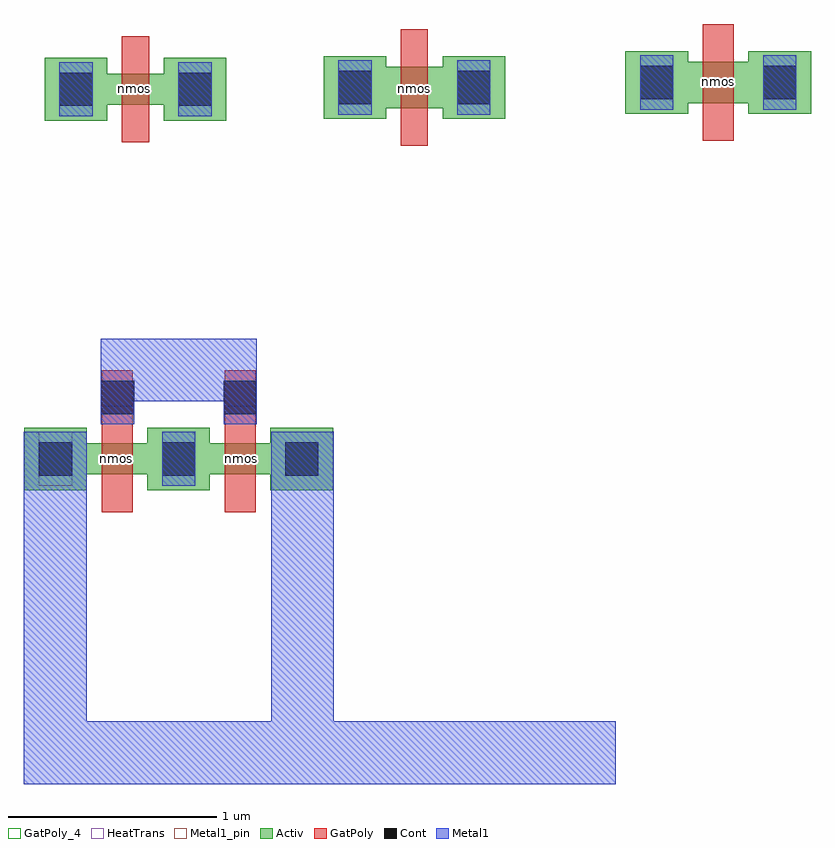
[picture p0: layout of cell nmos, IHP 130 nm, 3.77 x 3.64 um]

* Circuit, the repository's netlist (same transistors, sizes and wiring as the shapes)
*==========================================================================
* Copyright 2024 IHP PDK Authors
*
* Licensed under the Apache License, Version 2.0 (the "License");
* you may not use this file except in compliance with the License.
* You may obtain a copy of the License at
*
*    https://www.apache.org/licenses/LICENSE-2.0
*
* Unless required by applicable law or agreed to in writing, software
* distributed under the License is distributed on an "AS IS" BASIS,
* WITHOUT WARRANTIES OR CONDITIONS OF ANY KIND, either express or implied.
* See the License for the specific language governing permissions and
* limitations under the License.
* SPDX-License-Identifier: Apache-2.0
*==========================================================================

.SUBCKT nmos
MN1 D1 G1 S1 B sg13_lv_nmos m=1 w=150.00n l=130.00n ng=1
MN2 D2 G2 S2 B sg13_lv_nmos m=1 w=200.00n l=130.00n ng=1
MN3 D3 G3 S3 B sg13_lv_nmos m=1 w=200.00n l=150.00n ng=1
MN4 D4 G4 S4 B sg13_lv_nmos m=1 w=300.00n l=150.00n ng=2
.ENDS

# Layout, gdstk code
import gdstk
lib = gdstk.Library(unit=1e-6, precision=1e-09)
def R(c, l, rs):  # rectangles x0, y0, x1, y1
    for r in rs: c.add(gdstk.rectangle(r[:2], r[2:], *l))
def A(c, l, x, y, w, h, nx, ny, dx, dy):  # array of equal rectangles
    R(c, l, [(x+i*dx, y+j*dy, x+i*dx+w, y+j*dy+h) for i in range(nx) for j in range(ny)])
Activ = (1, 0)
GatPoly = (5, 0)
GatPoly_4 = (5, 4)
Cont = (6, 0)
Metal1 = (8, 0)
Metal1_pin = (8, 2)
HeatTrans = (51, 0)

nmos = lib.new_cell('nmos')
A(nmos, Activ, -0.51, -1.647, 0.3, 0.3, 3, 1, 0.59, 0)
R(nmos, Activ, [(-0.51,-1.572,0.97,-1.422), (-0.412,0.125,-0.112,0.425), (0.158,0.125,0.458,0.425), (0.925,0.134,1.225,0.434), (1.495,0.134,1.795,0.434), (2.372,0.158,2.672,0.458), (2.962,0.158,3.262,0.458), (0.925,0.184,1.795,0.384), (-0.412,0.2,0.458,0.35), (2.372,0.208,3.262,0.408)])
R(nmos, GatPoly, [(-0.14,-1.752,0.01,-1.072), (0.45,-1.752,0.6,-1.072), (1.295,0.004,1.425,0.564), (-0.042,0.02,0.088,0.53), (2.742,0.028,2.892,0.588)])
R(nmos, GatPoly_4, [(1.295,0.004,1.425,0.564), (1.295,0.004,1.425,0.564), (-0.042,0.02,0.088,0.53), (-0.042,0.02,0.088,0.53), (2.742,0.028,2.892,0.588), (2.742,0.028,2.892,0.588)])
A(nmos, Cont, -0.44, -1.577, 0.16, 0.16, 3, 1, 0.59, 0)
R(nmos, Cont, [(-0.143,-1.282,0.017,-1.122), (0.445,-1.282,0.605,-1.122), (-0.342,0.195,-0.182,0.355), (0.228,0.195,0.388,0.355), (0.995,0.204,1.155,0.364), (1.565,0.204,1.725,0.364), (2.442,0.228,2.602,0.388), (3.032,0.228,3.192,0.388)])
A(nmos, Metal1, -0.44, -1.627, 0.16, 0.26, 3, 1, 0.59, 0)
R(nmos, Metal1, [(-0.143,-1.332,0.017,-1.072), (0.445,-1.332,0.605,-1.072), (-0.342,0.145,-0.182,0.405), (0.228,0.145,0.388,0.405), (0.995,0.154,1.155,0.414), (1.565,0.154,1.725,0.414), (2.442,0.178,2.602,0.438), (3.032,0.178,3.192,0.438)])
R(nmos, Metal1_pin, [(-0.44,-1.627,-0.28,-1.367), (-0.44,-1.627,-0.28,-1.367), (0.15,-1.627,0.31,-1.367), (0.15,-1.627,0.31,-1.367), (-0.342,0.145,-0.182,0.405), (-0.342,0.145,-0.182,0.405), (0.228,0.145,0.388,0.405), (0.228,0.145,0.388,0.405), (0.995,0.154,1.155,0.414), (0.995,0.154,1.155,0.414), (1.565,0.154,1.725,0.414), (1.565,0.154,1.725,0.414), (2.442,0.178,2.602,0.438), (2.442,0.178,2.602,0.438), (3.032,0.178,3.192,0.438), (3.032,0.178,3.192,0.438)])
R(nmos, HeatTrans, [(-0.14,-1.752,0.01,-1.242), (0.45,-1.752,0.6,-1.242), (1.295,0.004,1.425,0.564), (-0.042,0.02,0.088,0.53), (2.742,0.028,2.892,0.588)])
nmos.add(gdstk.FlexPath([(-0.362,-1.367),(-0.362,-2.906)], 0.3, ends="flush", simple_path=True, layer=8, datatype=0))  # Metal1
nmos.add(gdstk.FlexPath([(0.824,-1.367),(0.824,-2.876)], 0.3, ends="flush", simple_path=True, layer=8, datatype=0))  # Metal1
nmos.add(gdstk.FlexPath([(-0.512,-2.906),(2.325,-2.906)], 0.3, ends="flush", simple_path=True, layer=8, datatype=0))  # Metal1
nmos.add(gdstk.FlexPath([(0.605,-1.072),(-0.143,-1.072)], 0.3, ends="flush", simple_path=True, layer=8, datatype=0))  # Metal1
nmos.add(gdstk.Label('nmos', (2.82,0.31), layer=51, texttype=0))
nmos.add(gdstk.Label('nmos', (0.02,0.28), layer=51, texttype=0))
nmos.add(gdstk.Label('nmos', (-0.07,-1.497), layer=51, texttype=0))
nmos.add(gdstk.Label('nmos', (1.36,0.28), layer=51, texttype=0))
nmos.add(gdstk.Label('nmos', (0.53,-1.497), layer=51, texttype=0))

lib.write_gds('nmos.gds')
